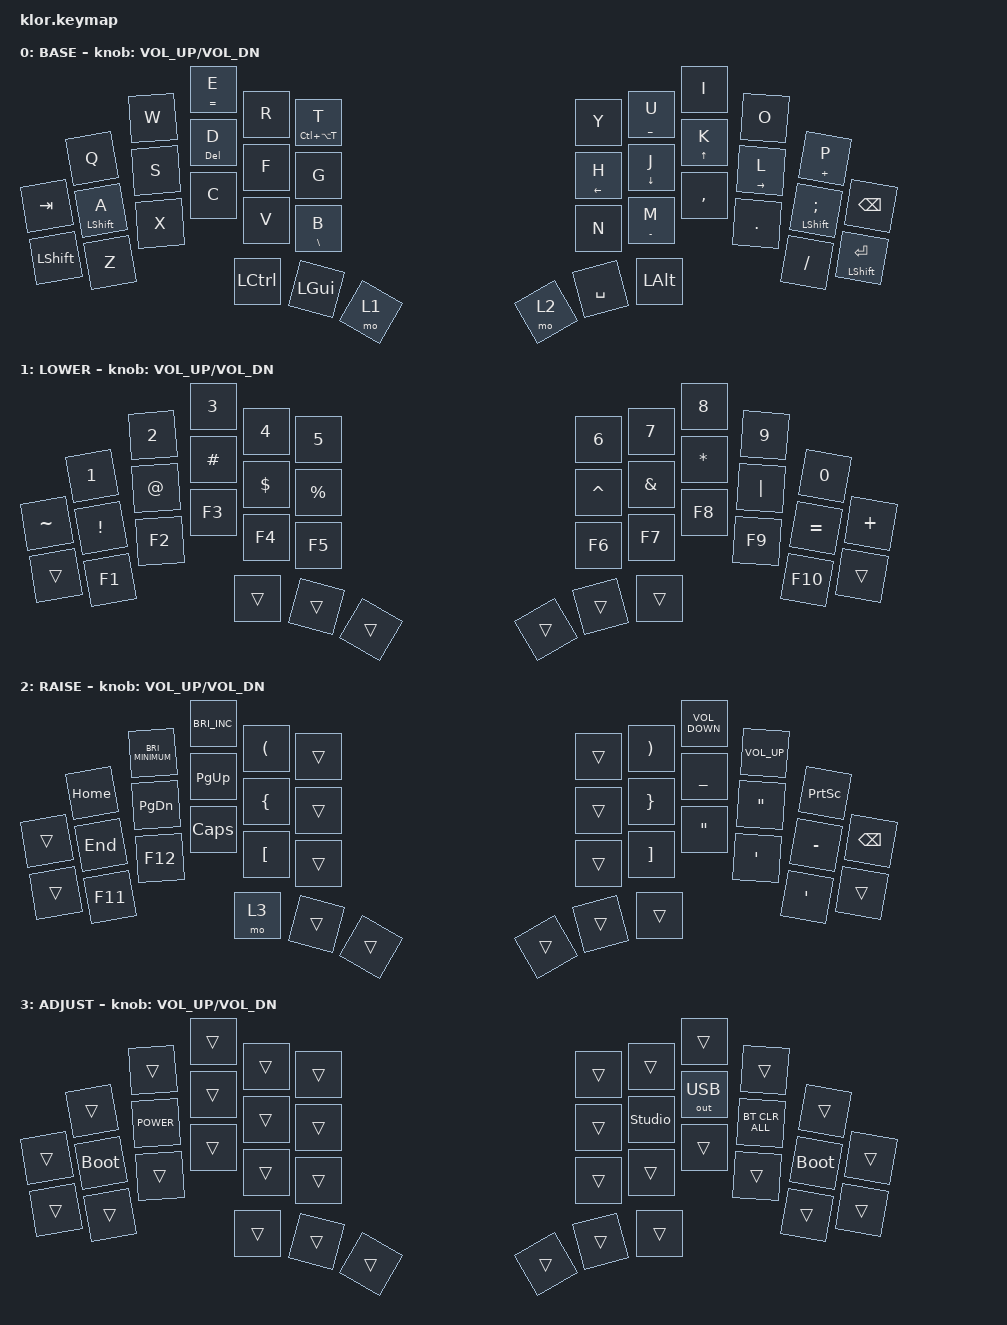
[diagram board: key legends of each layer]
//                               █         █    █            ▄▄▄▀▀▀▀▀▀▄▄▄        █▀▀▀▀▀▀▀▀▀▀█
//                               █        █     █          ▄▀            ▀▄      █          █
//                               █       █      █        ▄▀                ▀▄    █          █
//                               █      █       █        █                  █    █          █
//                               █     █        █       █                    █   █          █
//                               █    █         █       █                    █   █▄▄▄▄▄▄▄▄▄▄█
//                               █   █ █        █       █                    █   █      █
//                               █  █   █       █        █                  █    █       █
//                               █ █     █      █        ▀▄                ▄▀    █        █
//                               ██       █     █          ▀▄            ▄▀      █         █
//                               █         █    █▄▄▄▄▄▄▄▄    ▀▀▀▄▄▄▄▄▄▀▀▀        █          █
//
// ▄▄▄▄▄▄▄▄▄▄▄▄▄▄▄▄▄▄▄▄▄▄▄▄▄▄▄▄▄▄▄▄▄▄▄▄▄▄▄▄▄▄▄▄▄▄▄▄▄▄▄▄▄▄▄▄▄▄▄▄▄▄▄▄▄▄▄▄▄▄▄▄▄▄▄▄▄▄▄▄▄▄▄▄▄▄▄▄▄▄▄▄▄▄▄▄▄▄▄▄▄▄▄▄▄▄▄▄▄▄▄▄▄▄▄▄▄▄▄▄▄▄▄▄▄

#include <behaviors.dtsi>
#include <dt-bindings/zmk/bt.h>
#include <dt-bindings/zmk/keys.h>
#include <dt-bindings/zmk/outputs.h>

#define BASE   0
#define LOWER  1
#define RAISE  2
#define ADJUST 3

/ {
    behaviors {
        hm: homerow_mods {
            compatible = "zmk,behavior-hold-tap";
            label = "HOMEROW_MODS";
            #binding-cells = <2>;
            tapping-term-ms = <150>;
            quick_tap_ms = <0>;
            flavor = "tap-preferred";
            bindings = <&kp>, <&kp>;
        };
    };

    combos {
        compatible = "zmk,combos";

        combo_esc {
            timeout-ms = <50>;
            key-positions = <0 1>;
            bindings = <&kp ESC>;
        };

        reset_all_3 {
            bindings = <&bootloader>;
            key-positions = <11 20>;
            layers = <3>;
        };

        logout {
            bindings = <&kp C_POWER>;
            key-positions = <8 9>;
        };
    };

    macros {
        parenthesis: parenthesis {
            compatible = "zmk,behavior-macro";
            #binding-cells = <0>;
            bindings = <&none>;
            label = "PARENTHESIS";
        };
    };

    keymap {
        compatible = "zmk,keymap";

        // ▄▄▄▄▄▄▄▄▄▄▄▄▄▄▄▄▄▄▄▄▄▄▄▄▄▄▄▄▄▄▄▄▄▄▄▄▄▄▄▄▄▄▄▄▄▄▄▄▄▄▄▄▄▄▄▄▄▄▄▄▄▄▄▄▄▄▄▄▄▄▄▄▄▄▄▄▄▄▄▄▄▄▄▄▄▄▄▄▄▄▄▄▄▄▄▄▄▄▄▄▄▄▄▄▄▄▄▄▄▄▄▄▄▄▄▄▄▄▄▄▄▄▄▄▄▄▄▄▄▄▄▄▄▄▄▄▄▄▄▄▄▄

        base_layer {
            // ┌───────────────────────────────────────────────────────────┐

            label = "BASE";

            // └───────────────────────────────────────────────────────────┘
            /*           ┌─────────┬─────────┬─────────┬─────────┬─────────┐                    ┌─────────┬─────────┬─────────┬─────────┬─────────┐
             │    Q    │    W    │    F    │    P    │    G    │                    │    J    │    L    │    U    │    Y    │    ;    │   
   ┌─────────┼─────────┼─────────┼─────────┼─────────┼─────────┤                    ├─────────┼─────────┼─────────┼─────────┼─────────┼─────────┐
   │   TAB   │    A    │    R    │    S    │    T    │    D    │                    │    H    │    N    │    E    │    I    │    O    │    "    │
   ├─────────┼─────────┼─────────┼─────────┼─────────┼─────────┤╭────────╮╭────────╮├─────────┼─────────┼─────────┼─────────┼─────────┼─────────┤
   │   DEL   │    Z    │    X    │    C    │    V    │    B    ││  MUTE  ││PLY/PSE ││    K    │    M    │    ,    │    .    │    /    │    \    │
   └─────────┴─────────┴─────────┼─────────┼─────────┼─────────┼╰────────╯╰────────╯┼─────────┼─────────┼─────────┼─────────┴─────────┴─────────┘
                                 │  CTRL   │  LOWER  │  SPACE  │   ALT   ││ CMD/WIN │  ENTER  │  RAISE  │  BSPCE  │  
                                 └─────────┴─────────┴─────────┴─────────┘└─────────┴─────────┴─────────┴─────────┘ */

            bindings = <
                &kp Q             &kp W         &hm EQUAL E   &kp R  &hm LC(LA(T)) T  &kp Y             &hm UNDER U  &kp I           &kp O              &hm PLUS P
&kp TAB         &hm LEFT_SHIFT A  &kp S         &hm DELETE D  &kp F  &kp G            &hm LEFT_ARROW H  &hm DOWN J   &hm UP_ARROW K  &hm RIGHT_ARROW L  &hm LEFT_SHIFT SEMICOLON  &kp BACKSPACE
&kp LEFT_SHIFT  &kp Z             &kp X         &kp C         &kp V  &hm BACKSLASH B  &kp N             &hm MINUS M  &kp COMMA       &kp DOT            &kp FSLH                  &hm LEFT_SHIFT ENTER
                &kp LEFT_CONTROL  &kp LEFT_GUI  &mo 1                                                                &mo 2           &kp SPACE          &kp LEFT_ALT
            >;

            sensor-bindings = <&inc_dec_kp C_VOL_UP C_VOL_DN>;
        };

        lower_layer {
            // ┌───────────────────────────────────────────────────────────┐

            label = "LOWER";

            // └───────────────────────────────────────────────────────────┘
            /*           ┌─────────┬─────────┬─────────┬─────────┬─────────┐                    ┌─────────┬─────────┬─────────┬─────────┬─────────┐
             │         │         │    UP   │         │    {    │                    │    }    │    7    │    8    │    9    │    +    │
   ┌─────────┼─────────┼─────────┼─────────┼─────────┼─────────┤                    ├─────────┼─────────┼─────────┼─────────┼─────────┼─────────┐
   │         │         │   LEFT  │  DOWN   │  RIGHT  │    [    │                    │    ]    │    4    │    5    │    6    │    -    │         │
   ├─────────┼─────────┼─────────┼─────────┼─────────┼─────────┤╭────────╮╭────────╮├─────────┼─────────┼─────────┼─────────┼─────────┼─────────┤
   │         │         │   P UP  │ C LOCK  │ P DOWN  │    (    ││        ││        ││    )    │    1    │    2    │    3    │    *    │         │
   └─────────┴─────────┴─────────┼─────────┼─────────┼─────────┼╰────────╯╰────────╯┼─────────┼─────────┼─────────┼─────────┴─────────┴─────────┘
                                 │         │         │         │         ││         │         │    0    │         │  
                                 └─────────┴─────────┴─────────┴─────────┘└─────────┴─────────┴─────────┴─────────┘ */

            bindings = <
           &kp NUMBER_1     &kp NUMBER_2  &kp NUMBER_3  &kp NUMBER_4  &kp NUMBER_5  &kp NUMBER_6  &kp NUMBER_7   &kp NUMBER_8  &kp NUMBER_9  &kp NUMBER_0
&kp TILDE  &kp EXCLAMATION  &kp AT_SIGN   &kp HASH      &kp DOLLAR    &kp PERCENT   &kp CARET     &kp AMPERSAND  &kp ASTERISK  &kp PIPE      &kp EQUAL     &kp PLUS
&trans     &kp F1           &kp F2        &kp F3        &kp F4        &kp F5        &kp F6        &kp F7         &kp F8        &kp F9        &kp F10       &trans
           &trans           &trans        &trans                                                                 &trans        &trans        &trans
            >;

            sensor-bindings = <&inc_dec_kp C_VOL_UP C_VOL_DN>;
        };

        raise_layer {
            // ┌───────────────────────────────────────────────────────────┐

            label = "RAISE";

            // └───────────────────────────────────────────────────────────┘
            /*           ┌─────────┬─────────┬─────────┬─────────┬─────────┐                    ┌─────────┬─────────┬─────────┬─────────┬─────────┐
             │         │         │         │         │         │                    │         │         │    Ü    │         │         │
   ┌─────────┼─────────┼─────────┼─────────┼─────────┼─────────┤                    ├─────────┼─────────┼─────────┼─────────┼─────────┼─────────┐
   │    Ä    │         │    ß    │         │         │         │                    │         │         │         │         │    Ö    │         │
   ├─────────┼─────────┼─────────┼─────────┼─────────┼─────────┤╭────────╮╭────────╮├─────────┼─────────┼─────────┼─────────┼─────────┼─────────┤
   │         │         │         │         │         │         ││        ││        ││         │         │         │         │         │         │
   └─────────┴─────────┴─────────┼─────────┼─────────┼─────────┼╰────────╯╰────────╯┼─────────┼─────────┼─────────┼─────────┴─────────┴─────────┘
                                 │ ADJUST  │         │         │         ││         │         │         │         │  
                                 └─────────┴─────────┴─────────┴─────────┘└─────────┴─────────┴─────────┴─────────┘ */

            bindings = <
        &kp HOME  &kp C_BRIGHTNESS_MINIMUM  &kp C_BRIGHTNESS_INC  &kp LEFT_PARENTHESIS  &trans  &trans  &kp RIGHT_PARENTHESIS  &kp C_VOLUME_DOWN  &kp C_VOLUME_UP    &kp PRINTSCREEN
&trans  &kp END   &kp PAGE_DOWN             &kp PAGE_UP           &kp LEFT_BRACE        &trans  &trans  &kp RIGHT_BRACE        &kp UNDER          &kp DOUBLE_QUOTES  &kp MINUS        &kp BACKSPACE
&trans  &kp F11   &kp F12                   &kp CAPSLOCK          &kp LEFT_BRACKET      &trans  &trans  &kp RIGHT_BRACKET      &kp DOUBLE_QUOTES  &kp SINGLE_QUOTE   &kp APOS         &trans
        &mo 3     &trans                    &trans                                                                             &trans             &trans             &trans
            >;

            sensor-bindings = <&inc_dec_kp C_VOL_UP C_VOL_DN>;
        };

        adjust_layer {
            // ┌───────────────────────────────────────────────────────────┐

            label = "ADJUST";

            // └───────────────────────────────────────────────────────────┘
            /*           ┌─────────┬─────────┬─────────┬─────────┬─────────┐                    ┌─────────┬─────────┬─────────┬─────────┬─────────┐
             │         │         │         │         │         │                    │         │         │         │         │         │
   ┌─────────┼─────────┼─────────┼─────────┼─────────┼─────────┤                    ├─────────┼─────────┼─────────┼─────────┼─────────┼─────────┐
   │         │         │         │         │         │         │                    │         │         │         │         │         │         │
   ├─────────┼─────────┼─────────┼─────────┼─────────┼─────────┤╭────────╮╭────────╮├─────────┼─────────┼─────────┼─────────┼─────────┼─────────┤
   │         │         │         │         │         │         ││        ││        ││         │         │         │         │         │         │
   └─────────┴─────────┴─────────┼─────────┼─────────┼─────────┼╰────────╯╰────────╯┼─────────┼─────────┼─────────┼─────────┴─────────┴─────────┘
                                 │         │         │         │         ││         │         │         │         │  
                                 └─────────┴─────────┴─────────┴─────────┘└─────────┴─────────┴─────────┴─────────┘ */

            bindings = <
        &trans       &trans       &trans  &trans  &trans  &trans  &trans          &trans        &trans          &trans
&trans  &bootloader  &kp C_POWER  &trans  &trans  &trans  &trans  &studio_unlock  &out OUT_USB  &bt BT_CLR_ALL  &bootloader  &trans
&trans  &trans       &trans       &trans  &trans  &trans  &trans  &trans          &trans        &trans          &trans       &trans
        &trans       &trans       &trans                                          &trans        &trans          &trans
            >;

            sensor-bindings = <&inc_dec_kp C_VOL_UP C_VOL_DN>;
        };
    };
};
